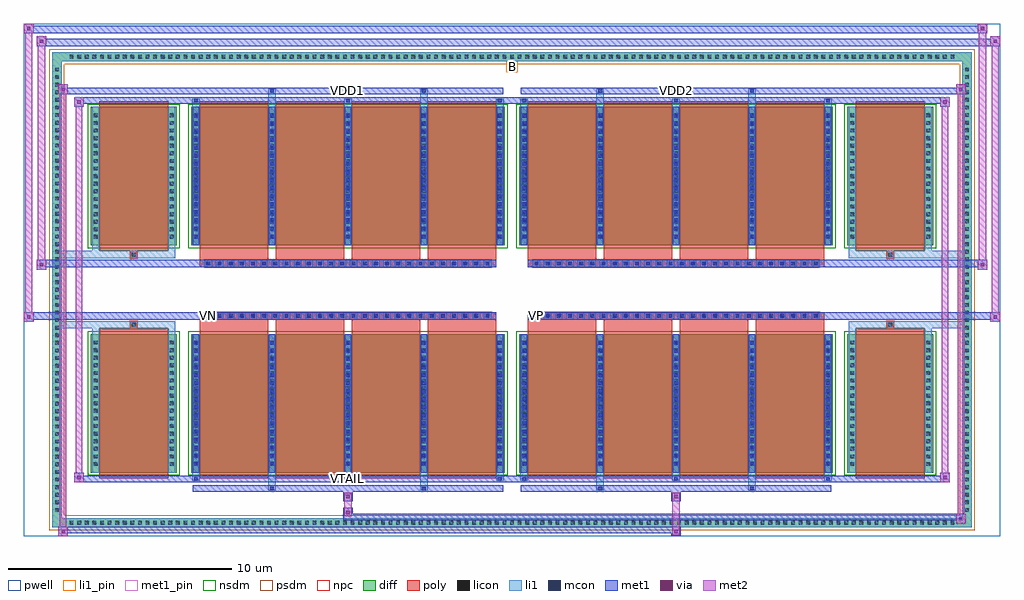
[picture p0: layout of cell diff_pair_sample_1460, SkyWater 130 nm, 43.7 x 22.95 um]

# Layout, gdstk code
import gdstk
lib = gdstk.Library(unit=1e-6, precision=5e-09)
def R(c, l, rs):  # rectangles x0, y0, x1, y1
    for r in rs: c.add(gdstk.rectangle(r[:2], r[2:], *l))
def A(c, l, x, y, w, h, nx, ny, dx, dy):  # array of equal rectangles
    R(c, l, [(x+i*dx, y+j*dy, x+i*dx+w, y+j*dy+h) for i in range(nx) for j in range(ny)])
def P(c, l, *ps):  # polygons
    for p in ps: c.add(gdstk.Polygon(p, *l))
pwell = (64, 44)
diff = (65, 20)
poly = (66, 20)
licon = (66, 44)
li1_pin = (67, 16)
li1 = (67, 20)
mcon = (67, 44)
met1_pin = (68, 16)
met1 = (68, 20)
via = (68, 44)
met2 = (69, 20)
nsdm = (93, 44)
psdm = (94, 20)
npc = (95, 20)

diff_pair_sample_1460 = lib.new_cell('diff_pair_sample_1460')
R(diff_pair_sample_1460, pwell, [(-21.85,-11.04,21.85,11.91), (-19.17,-9.23,-0.01,-0.805), (0.01,-9.23,19.17,-0.805), (-19.17,0.805,-0.01,9.23), (0.01,0.805,19.17,9.23)])
A(diff_pair_sample_1460, diff, -19.925, -10.64, 0.41, 0.41, 117, 2, 0.34, 20.87)
A(diff_pair_sample_1460, diff, -20.58, -10.065, 0.41, 0.41, 1, 59, 0, 0.34)
A(diff_pair_sample_1460, diff, 20.17, -10.065, 0.41, 0.41, 1, 59, 0, 0.34)
R(diff_pair_sample_1460, diff, [(-19.925,-10.64,19.925,-10.23), (-20.58,-10.065,-20.17,10.065), (20.17,-10.065,20.58,10.065), (-18.86,-8.185,-15.01,-1.985), (-14.37,-8.185,-0.32,-1.985), (0.32,-8.185,14.37,-1.985), (15.01,-8.185,18.86,-1.985), (-18.86,1.985,-15.01,8.185), (-14.37,1.985,-0.32,8.185), (0.32,1.985,14.37,8.185), (15.01,1.985,18.86,8.185), (-19.925,10.23,19.925,10.64)])
P(diff_pair_sample_1460, diff, [(20.58,10.64),(-20.58,10.64),(-20.58,-10.23),(-20.17,-10.23),(-20.17,10.23),(20.17,10.23),(20.17,-10.23),(-20.17,-10.23),(-20.58,-10.23),(-20.58,-10.64),(20.58,-10.64)])
A(diff_pair_sample_1460, poly, -13.98, -8.435, 3.07, 6.7, 4, 2, 3.4, 10.17)
A(diff_pair_sample_1460, poly, 0.71, -8.435, 3.07, 6.7, 4, 2, 3.4, 10.17)
A(diff_pair_sample_1460, poly, -13.98, -1.735, 3.07, 0.4, 4, 2, 3.4, 3.07)
A(diff_pair_sample_1460, poly, 0.71, -1.735, 3.07, 0.4, 4, 2, 3.4, 3.07)
A(diff_pair_sample_1460, poly, -13.76, -1.335, 0.33, 0.33, 26, 2, 0.5, 2.34)
A(diff_pair_sample_1460, poly, 0.93, -1.335, 0.33, 0.33, 26, 2, 0.5, 2.34)
R(diff_pair_sample_1460, poly, [(-18.47,-8.435,-15.4,-1.735), (15.4,-8.435,18.47,-1.735), (-17.1,-1.735,-16.77,-1.405), (-17.1,-1.735,-16.77,-1.405), (16.77,-1.735,17.1,-1.405), (16.77,-1.735,17.1,-1.405), (-13.98,-1.335,-0.71,-1.005), (0.71,-1.335,13.98,-1.005), (-13.98,1.005,-0.71,1.335), (0.71,1.005,13.98,1.335), (-17.1,1.405,-16.77,1.735), (-17.1,1.405,-16.77,1.735), (16.77,1.405,17.1,1.735), (16.77,1.405,17.1,1.735), (-18.47,1.735,-15.4,8.435), (15.4,1.735,18.47,8.435)])
A(diff_pair_sample_1460, licon, -19.805, -10.52, 0.17, 0.17, 117, 2, 0.34, 20.87)
A(diff_pair_sample_1460, licon, -20.46, -9.945, 0.17, 0.17, 1, 59, 0, 0.34)
A(diff_pair_sample_1460, licon, 20.29, -9.945, 0.17, 0.17, 1, 59, 0, 0.34)
A(diff_pair_sample_1460, licon, -18.72, -7.89, 0.17, 0.17, 1, 17, 0, 0.34)
A(diff_pair_sample_1460, licon, -15.32, -7.89, 0.17, 0.17, 1, 17, 0, 0.34)
A(diff_pair_sample_1460, licon, -14.23, -7.89, 0.17, 0.17, 5, 17, 3.4, 0.34)
A(diff_pair_sample_1460, licon, 0.46, -7.89, 0.17, 0.17, 5, 17, 3.4, 0.34)
A(diff_pair_sample_1460, licon, 15.15, -7.89, 0.17, 0.17, 1, 17, 0, 0.34)
A(diff_pair_sample_1460, licon, 18.55, -7.89, 0.17, 0.17, 1, 17, 0, 0.34)
A(diff_pair_sample_1460, licon, -13.68, -1.255, 0.17, 0.17, 26, 2, 0.5, 2.34)
A(diff_pair_sample_1460, licon, 1.01, -1.255, 0.17, 0.17, 26, 2, 0.5, 2.34)
A(diff_pair_sample_1460, licon, -18.72, 2.28, 0.17, 0.17, 1, 17, 0, 0.34)
A(diff_pair_sample_1460, licon, -15.32, 2.28, 0.17, 0.17, 1, 17, 0, 0.34)
A(diff_pair_sample_1460, licon, -14.23, 2.28, 0.17, 0.17, 5, 17, 3.4, 0.34)
A(diff_pair_sample_1460, licon, 0.46, 2.28, 0.17, 0.17, 5, 17, 3.4, 0.34)
A(diff_pair_sample_1460, licon, 15.15, 2.28, 0.17, 0.17, 1, 17, 0, 0.34)
A(diff_pair_sample_1460, licon, 18.55, 2.28, 0.17, 0.17, 1, 17, 0, 0.34)
R(diff_pair_sample_1460, licon, [(-17.02,-1.655,-16.85,-1.485), (16.85,-1.655,17.02,-1.485), (-17.02,1.485,-16.85,1.655), (16.85,1.485,17.02,1.655)])
R(diff_pair_sample_1460, li1_pin, [(-0.25,9.73,0.25,10.23)])
A(diff_pair_sample_1460, li1, -19.885, -10.6, 0.33, 0.33, 117, 2, 0.34, 20.87)
A(diff_pair_sample_1460, li1, -20.54, -10.025, 0.33, 0.33, 1, 59, 0, 0.34)
A(diff_pair_sample_1460, li1, 20.21, -10.025, 0.33, 0.33, 1, 59, 0, 0.34)
A(diff_pair_sample_1460, li1, -14.31, -8.56, 0.33, 0.375, 3, 2, 6.8, 16.745)
A(diff_pair_sample_1460, li1, -14.23, -8.56, 0.17, 0.17, 3, 2, 6.8, 16.95)
A(diff_pair_sample_1460, li1, 0.38, -8.56, 0.33, 0.375, 3, 2, 6.8, 16.745)
A(diff_pair_sample_1460, li1, 0.46, -8.56, 0.17, 0.17, 3, 2, 6.8, 16.95)
A(diff_pair_sample_1460, li1, -14.31, -8.185, 0.33, 6.2, 5, 2, 3.4, 10.17)
A(diff_pair_sample_1460, li1, 0.38, -8.185, 0.33, 6.2, 5, 2, 3.4, 10.17)
A(diff_pair_sample_1460, li1, -18.8, -7.97, 0.33, 0.33, 1, 17, 0, 0.34)
A(diff_pair_sample_1460, li1, -15.4, -7.97, 0.33, 0.33, 1, 17, 0, 0.34)
A(diff_pair_sample_1460, li1, -14.31, -7.97, 0.33, 0.33, 5, 17, 3.4, 0.34)
A(diff_pair_sample_1460, li1, 0.38, -7.97, 0.33, 0.33, 5, 17, 3.4, 0.34)
A(diff_pair_sample_1460, li1, 15.07, -7.97, 0.33, 0.33, 1, 17, 0, 0.34)
A(diff_pair_sample_1460, li1, 18.47, -7.97, 0.33, 0.33, 1, 17, 0, 0.34)
A(diff_pair_sample_1460, li1, -14.23, -7.87, 0.17, 0.17, 5, 16, 3.4, 0.36)
A(diff_pair_sample_1460, li1, -14.23, -7.87, 0.17, 5.57, 5, 2, 3.4, 10.17)
A(diff_pair_sample_1460, li1, 0.46, -7.87, 0.17, 0.17, 5, 16, 3.4, 0.36)
A(diff_pair_sample_1460, li1, 0.46, -7.87, 0.17, 5.57, 5, 2, 3.4, 10.17)
A(diff_pair_sample_1460, li1, -13.76, -1.335, 0.33, 0.33, 26, 2, 0.5, 2.34)
A(diff_pair_sample_1460, li1, 0.93, -1.335, 0.33, 0.33, 26, 2, 0.5, 2.34)
A(diff_pair_sample_1460, li1, -18.8, 2.2, 0.33, 0.33, 1, 17, 0, 0.34)
A(diff_pair_sample_1460, li1, -15.4, 2.2, 0.33, 0.33, 1, 17, 0, 0.34)
A(diff_pair_sample_1460, li1, -14.31, 2.2, 0.33, 0.33, 5, 17, 3.4, 0.34)
A(diff_pair_sample_1460, li1, 0.38, 2.2, 0.33, 0.33, 5, 17, 3.4, 0.34)
A(diff_pair_sample_1460, li1, 15.07, 2.2, 0.33, 0.33, 1, 17, 0, 0.34)
A(diff_pair_sample_1460, li1, 18.47, 2.2, 0.33, 0.33, 1, 17, 0, 0.34)
A(diff_pair_sample_1460, li1, -14.23, 2.3, 0.17, 0.17, 5, 16, 3.4, 0.36)
A(diff_pair_sample_1460, li1, 0.46, 2.3, 0.17, 0.17, 5, 16, 3.4, 0.36)
R(diff_pair_sample_1460, li1, [(-20.58,-10.64,-20.17,-10.23), (-20.58,-10.64,-20.17,-10.23), (-20.17,-10.64,20.17,-10.23), (20.17,-10.64,20.58,-10.23), (20.17,-10.64,20.58,-10.23), (-20.58,-10.23,-20.17,10.23), (20.17,-10.23,20.58,10.23), (-10.91,-8.99,-10.58,-8.185), (-10.83,-8.99,-10.66,-8.82), (-4.11,-8.99,-3.78,-8.185), (-4.03,-8.99,-3.86,-8.82), (3.78,-8.99,4.11,-8.185), (3.86,-8.99,4.03,-8.82), (10.58,-8.99,10.91,-8.185), (10.66,-8.99,10.83,-8.82), (-18.8,-8.185,-18.47,-1.985), (-15.4,-8.185,-15.07,-1.985), (15.07,-8.185,15.4,-1.985), (18.47,-8.185,18.8,-1.985), (-18.8,-1.985,-18.47,-1.405), (-15.4,-1.985,-15.07,-1.405), (15.07,-1.985,15.4,-1.405), (18.47,-1.985,18.8,-1.405), (-20.58,-1.735,-17.1,-1.405), (-18.8,-1.735,-17.1,-1.405), (-17.1,-1.735,-16.77,-1.405), (-16.77,-1.735,-15.07,-1.405), (15.07,-1.735,16.77,-1.405), (16.77,-1.735,17.1,-1.405), (16.77,-1.735,20.58,-1.405), (17.1,-1.735,18.8,-1.405), (-20.58,1.405,-17.1,1.735), (-18.8,1.405,-17.1,1.735), (-18.8,1.405,-18.47,1.985), (-17.1,1.405,-16.77,1.735), (-16.77,1.405,-15.07,1.735), (-15.4,1.405,-15.07,1.985), (15.07,1.405,16.77,1.735), (15.07,1.405,15.4,1.985), (16.77,1.405,17.1,1.735), (16.77,1.405,20.58,1.735), (17.1,1.405,18.8,1.735), (18.47,1.405,18.8,1.985), (-18.8,1.985,-18.47,8.185), (-15.4,1.985,-15.07,8.185), (15.07,1.985,15.4,8.185), (18.47,1.985,18.8,8.185), (-10.91,8.185,-10.58,8.99), (-4.11,8.185,-3.78,8.99), (3.78,8.185,4.11,8.99), (10.58,8.185,10.91,8.99), (-10.83,8.82,-10.66,8.99), (-4.03,8.82,-3.86,8.99), (3.86,8.82,4.03,8.99), (10.66,8.82,10.83,8.99), (-20.58,10.23,-20.17,10.64), (-20.58,10.23,-20.17,10.64), (-20.17,10.23,20.17,10.64), (20.17,10.23,20.58,10.64), (20.17,10.23,20.58,10.64)])
A(diff_pair_sample_1460, mcon, -14.23, -8.56, 0.17, 0.17, 3, 2, 6.8, 16.95)
A(diff_pair_sample_1460, mcon, 0.46, -8.56, 0.17, 0.17, 3, 2, 6.8, 16.95)
A(diff_pair_sample_1460, mcon, -14.23, -7.87, 0.17, 0.17, 5, 16, 3.4, 0.36)
A(diff_pair_sample_1460, mcon, 0.46, -7.87, 0.17, 0.17, 5, 16, 3.4, 0.36)
A(diff_pair_sample_1460, mcon, -13.68, -1.255, 0.17, 0.17, 26, 2, 0.5, 2.34)
A(diff_pair_sample_1460, mcon, 1.01, -1.255, 0.17, 0.17, 26, 2, 0.5, 2.34)
A(diff_pair_sample_1460, mcon, -14.23, 2.3, 0.17, 0.17, 5, 16, 3.4, 0.36)
A(diff_pair_sample_1460, mcon, 0.46, 2.3, 0.17, 0.17, 5, 16, 3.4, 0.36)
R(diff_pair_sample_1460, mcon, [(-10.83,-8.99,-10.66,-8.82), (-4.03,-8.99,-3.86,-8.82), (3.86,-8.99,4.03,-8.82), (10.66,-8.99,10.83,-8.82), (-10.83,8.82,-10.66,8.99), (-4.03,8.82,-3.86,8.99), (3.86,8.82,4.03,8.99), (10.66,8.82,10.83,8.99)])
R(diff_pair_sample_1460, met1_pin, [(-7.48,-8.6,-7.21,-8.33), (-13.73,-1.295,-13.46,-1.025), (0.96,-1.295,1.23,-1.025), (-7.48,8.78,-7.21,9.05), (7.21,8.78,7.48,9.05)])
A(diff_pair_sample_1460, met1, -14.29, -8.62, 0.29, 0.29, 3, 2, 6.8, 16.95)
A(diff_pair_sample_1460, met1, 0.4, -8.62, 0.29, 0.29, 3, 2, 6.8, 16.95)
A(diff_pair_sample_1460, met1, -14.29, -8.185, 0.29, 6.2, 5, 2, 3.4, 10.17)
A(diff_pair_sample_1460, met1, 0.4, -8.185, 0.29, 6.2, 5, 2, 3.4, 10.17)
A(diff_pair_sample_1460, met1, -14.29, -7.93, 0.29, 0.29, 5, 16, 3.4, 0.36)
A(diff_pair_sample_1460, met1, 0.4, -7.93, 0.29, 0.29, 5, 16, 3.4, 0.36)
A(diff_pair_sample_1460, met1, -13.74, -1.315, 0.29, 0.29, 26, 2, 0.5, 2.34)
A(diff_pair_sample_1460, met1, 0.95, -1.315, 0.29, 0.29, 26, 2, 0.5, 2.34)
A(diff_pair_sample_1460, met1, -14.29, 2.24, 0.29, 0.29, 5, 16, 3.4, 0.36)
A(diff_pair_sample_1460, met1, 0.4, 2.24, 0.29, 0.29, 5, 16, 3.4, 0.36)
R(diff_pair_sample_1460, met1, [(-20.31,-11.04,-19.88,-10.61), (7.13,-11.04,7.56,-10.61), (-20.31,-10.9,7.56,-10.61), (19.88,-10.47,20.31,-10.04), (-7.56,-10.33,20.31,-10.04), (-7.56,-10.19,-7.13,-9.76), (-7.56,-9.48,-7.13,-9.05), (7.13,-9.48,7.56,-9.05), (-14.29,-9.05,-0.4,-8.76), (-10.89,-9.05,-10.6,-8.76), (-4.09,-9.05,-3.8,-8.76), (0.4,-9.05,14.29,-8.76), (3.8,-9.05,4.09,-8.76), (10.6,-9.05,10.89,-8.76), (-19.6,-8.62,-19.17,-8.19), (-19.6,-8.62,-14.29,-8.33), (-14.29,-8.62,-0.4,-8.33), (-0.4,-8.62,0.4,-8.33), (0.4,-8.62,14.29,-8.33), (14.29,-8.62,19.6,-8.33), (19.17,-8.62,19.6,-8.19), (-21.85,-1.435,-21.42,-1.005), (21.42,-1.435,21.85,-1.005), (-21.85,-1.335,-0.71,-1.005), (-13.98,-1.335,-0.71,-1.005), (0.71,-1.335,13.98,-1.005), (0.71,-1.335,21.85,-1.005), (-21.28,0.905,-20.85,1.335), (20.85,0.905,21.28,1.335), (-21.28,1.005,-13.98,1.335), (-13.98,1.005,-0.71,1.335), (0.71,1.005,13.98,1.335), (13.98,1.005,21.28,1.335), (-19.6,8.19,-19.17,8.62), (19.17,8.19,19.6,8.62), (-19.6,8.33,-14.29,8.62), (-14.29,8.33,-0.4,8.62), (-0.4,8.33,0.4,8.62), (0.4,8.33,14.29,8.62), (14.29,8.33,19.6,8.62), (-20.31,8.76,-19.88,9.19), (-20.31,8.76,-14.29,9.05), (-14.29,8.76,-0.4,9.05), (-10.89,8.76,-10.6,9.05), (-4.09,8.76,-3.8,9.05), (0.4,8.76,14.29,9.05), (3.8,8.76,4.09,9.05), (10.6,8.76,10.89,9.05), (14.29,8.76,20.31,9.05), (19.88,8.76,20.31,9.19), (-21.28,10.91,-20.85,11.34), (-21.28,10.91,-19.17,11.24), (-19.17,10.91,19.17,11.24), (19.17,10.91,21.85,11.24), (21.42,10.91,21.85,11.34), (-21.85,11.48,-21.42,11.91), (-21.85,11.48,-19.17,11.81), (-19.17,11.48,19.17,11.81), (19.17,11.48,21.28,11.81), (20.85,11.48,21.28,11.91)])
R(diff_pair_sample_1460, via, [(-20.17,-10.9,-20.02,-10.75), (7.27,-10.9,7.42,-10.75), (20.02,-10.33,20.17,-10.18), (-7.42,-10.05,-7.27,-9.9), (-7.42,-9.34,-7.27,-9.19), (7.27,-9.34,7.42,-9.19), (-19.46,-8.48,-19.31,-8.33), (19.31,-8.48,19.46,-8.33), (-21.71,-1.295,-21.56,-1.145), (21.56,-1.295,21.71,-1.145), (-21.14,1.045,-20.99,1.195), (20.99,1.045,21.14,1.195), (-19.46,8.33,-19.31,8.48), (19.31,8.33,19.46,8.48), (-20.17,8.9,-20.02,9.05), (20.02,8.9,20.17,9.05), (-21.14,11.05,-20.99,11.2), (21.56,11.05,21.71,11.2), (-21.71,11.62,-21.56,11.77), (20.99,11.62,21.14,11.77)])
R(diff_pair_sample_1460, met2, [(-20.31,-11.04,-19.88,-10.61), (-20.24,-11.04,-19.95,9.19), (-19.95,-11.04,-19.88,-10.61), (-20.26,-10.99,-19.93,-10.66), (7.18,-10.99,7.51,-10.66), (7.18,-10.66,7.51,-9.43), (19.88,-10.47,20.31,-10.04), (19.95,-10.47,20.24,9.19), (20.24,-10.47,20.31,-10.04), (19.93,-10.42,20.26,-10.09), (-7.51,-10.14,-7.18,-9.81), (-7.51,-9.81,-7.18,-9.43), (-7.51,-9.43,-7.18,-9.1), (7.18,-9.43,7.51,-9.1), (-19.6,-8.62,-19.17,-8.19), (-19.53,-8.62,-19.24,8.62), (-19.24,-8.62,-19.17,-8.19), (19.17,-8.62,19.6,-8.19), (19.24,-8.62,19.53,8.62), (19.53,-8.62,19.6,-8.19), (-19.55,-8.57,-19.22,-8.24), (19.22,-8.57,19.55,-8.24), (-21.85,-1.435,-21.42,-1.005), (-21.8,-1.435,-21.47,11.91), (-21.47,-1.435,-21.42,-1.005), (21.42,-1.435,21.85,-1.005), (21.47,-1.435,21.8,11.34), (21.8,-1.435,21.85,-1.005), (-21.8,-1.385,-21.47,-1.055), (21.47,-1.385,21.8,-1.055), (-21.28,0.905,-20.85,1.335), (-21.23,0.905,-20.9,11.34), (-20.9,0.905,-20.85,1.335), (20.85,0.905,21.28,1.335), (20.9,0.905,21.23,11.91), (21.23,0.905,21.28,1.335), (-21.23,0.955,-20.9,1.285), (20.9,0.955,21.23,1.285), (-19.6,8.19,-19.17,8.62), (-19.24,8.19,-19.17,8.62), (19.17,8.19,19.6,8.62), (19.53,8.19,19.6,8.62), (-19.55,8.24,-19.22,8.57), (19.22,8.24,19.55,8.57), (-20.31,8.76,-19.88,9.19), (-19.95,8.76,-19.88,9.19), (19.88,8.76,20.31,9.19), (20.24,8.76,20.31,9.19), (-20.26,8.81,-19.93,9.14), (19.93,8.81,20.26,9.14), (-21.28,10.91,-20.85,11.34), (-20.9,10.91,-20.85,11.34), (21.42,10.91,21.85,11.34), (21.8,10.91,21.85,11.34), (-21.23,10.96,-20.9,11.29), (21.47,10.96,21.8,11.29), (-21.85,11.48,-21.42,11.91), (-21.47,11.48,-21.42,11.91), (20.85,11.48,21.28,11.91), (21.23,11.48,21.28,11.91), (-21.8,11.53,-21.47,11.86), (20.9,11.53,21.23,11.86)])
R(diff_pair_sample_1460, nsdm, [(-18.99,-8.315,-14.88,-1.855), (-14.5,-8.315,-0.19,-1.855), (0.19,-8.315,14.5,-1.855), (14.88,-8.315,18.99,-1.855), (-18.99,1.855,-14.88,8.315), (-14.5,1.855,-0.19,8.315), (0.19,1.855,14.5,8.315), (14.88,1.855,18.99,8.315)])
P(diff_pair_sample_1460, psdm, [(20.71,10.77),(-20.71,10.77),(-20.71,-10.1),(-20.04,-10.1),(-20.04,10.1),(20.04,10.1),(20.04,-10.1),(-20.04,-10.1),(-20.71,-10.1),(-20.71,-10.77),(20.71,-10.77)])
A(diff_pair_sample_1460, npc, -13.78, -1.355, 0.37, 0.37, 26, 2, 0.5, 2.34)
A(diff_pair_sample_1460, npc, 0.91, -1.355, 0.37, 0.37, 26, 2, 0.5, 2.34)
R(diff_pair_sample_1460, npc, [(-17.12,-1.755,-16.75,-1.385), (16.75,-1.755,17.12,-1.385), (-13.78,-1.355,-12.91,-0.985), (-13.78,-1.355,-12.91,-0.985), (-13.28,-1.355,-12.41,-0.985), (-13.28,-1.355,-12.41,-0.985), (-12.78,-1.355,-11.91,-0.985), (-12.78,-1.355,-11.91,-0.985), (-12.28,-1.355,-11.41,-0.985), (-12.28,-1.355,-11.41,-0.985), (-11.78,-1.355,-10.91,-0.985), (-11.78,-1.355,-10.91,-0.985), (-11.28,-1.355,-10.41,-0.985), (-11.28,-1.355,-10.41,-0.985), (-10.78,-1.355,-9.91,-0.985), (-10.78,-1.355,-9.91,-0.985), (-10.28,-1.355,-9.41,-0.985), (-10.28,-1.355,-9.41,-0.985), (-9.78,-1.355,-8.91,-0.985), (-9.78,-1.355,-8.91,-0.985), (-9.28,-1.355,-8.41,-0.985), (-9.28,-1.355,-8.41,-0.985), (-8.78,-1.355,-7.91,-0.985), (-8.78,-1.355,-7.91,-0.985), (-8.28,-1.355,-7.41,-0.985), (-8.28,-1.355,-7.41,-0.985), (-7.78,-1.355,-6.91,-0.985), (-7.78,-1.355,-6.91,-0.985), (-7.28,-1.355,-6.41,-0.985), (-7.28,-1.355,-6.41,-0.985), (-6.78,-1.355,-5.91,-0.985), (-6.78,-1.355,-5.91,-0.985), (-6.28,-1.355,-5.41,-0.985), (-6.28,-1.355,-5.41,-0.985), (-5.78,-1.355,-4.91,-0.985), (-5.78,-1.355,-4.91,-0.985), (-5.28,-1.355,-4.41,-0.985), (-5.28,-1.355,-4.41,-0.985), (-4.78,-1.355,-3.91,-0.985), (-4.78,-1.355,-3.91,-0.985), (-4.28,-1.355,-3.41,-0.985), (-4.28,-1.355,-3.41,-0.985), (-3.78,-1.355,-2.91,-0.985), (-3.78,-1.355,-2.91,-0.985), (-3.28,-1.355,-2.41,-0.985), (-3.28,-1.355,-2.41,-0.985), (-2.78,-1.355,-1.91,-0.985), (-2.78,-1.355,-1.91,-0.985), (-2.28,-1.355,-1.41,-0.985), (-2.28,-1.355,-1.41,-0.985), (-1.78,-1.355,-0.91,-0.985), (-1.78,-1.355,-0.91,-0.985), (0.91,-1.355,1.78,-0.985), (0.91,-1.355,1.78,-0.985), (1.41,-1.355,2.28,-0.985), (1.41,-1.355,2.28,-0.985), (1.91,-1.355,2.78,-0.985), (1.91,-1.355,2.78,-0.985), (2.41,-1.355,3.28,-0.985), (2.41,-1.355,3.28,-0.985), (2.91,-1.355,3.78,-0.985), (2.91,-1.355,3.78,-0.985), (3.41,-1.355,4.28,-0.985), (3.41,-1.355,4.28,-0.985), (3.91,-1.355,4.78,-0.985), (3.91,-1.355,4.78,-0.985), (4.41,-1.355,5.28,-0.985), (4.41,-1.355,5.28,-0.985), (4.91,-1.355,5.78,-0.985), (4.91,-1.355,5.78,-0.985), (5.41,-1.355,6.28,-0.985), (5.41,-1.355,6.28,-0.985), (5.91,-1.355,6.78,-0.985), (5.91,-1.355,6.78,-0.985), (6.41,-1.355,7.28,-0.985), (6.41,-1.355,7.28,-0.985), (6.91,-1.355,7.78,-0.985), (6.91,-1.355,7.78,-0.985), (7.41,-1.355,8.28,-0.985), (7.41,-1.355,8.28,-0.985), (7.91,-1.355,8.78,-0.985), (7.91,-1.355,8.78,-0.985), (8.41,-1.355,9.28,-0.985), (8.41,-1.355,9.28,-0.985), (8.91,-1.355,9.78,-0.985), (8.91,-1.355,9.78,-0.985), (9.41,-1.355,10.28,-0.985), (9.41,-1.355,10.28,-0.985), (9.91,-1.355,10.78,-0.985), (9.91,-1.355,10.78,-0.985), (10.41,-1.355,11.28,-0.985), (10.41,-1.355,11.28,-0.985), (10.91,-1.355,11.78,-0.985), (10.91,-1.355,11.78,-0.985), (11.41,-1.355,12.28,-0.985), (11.41,-1.355,12.28,-0.985), (11.91,-1.355,12.78,-0.985), (11.91,-1.355,12.78,-0.985), (12.41,-1.355,13.28,-0.985), (12.41,-1.355,13.28,-0.985), (12.91,-1.355,13.78,-0.985), (12.91,-1.355,13.78,-0.985), (-13.78,0.985,-12.91,1.355), (-13.78,0.985,-12.91,1.355), (-13.28,0.985,-12.41,1.355), (-13.28,0.985,-12.41,1.355), (-12.78,0.985,-11.91,1.355), (-12.78,0.985,-11.91,1.355), (-12.28,0.985,-11.41,1.355), (-12.28,0.985,-11.41,1.355), (-11.78,0.985,-10.91,1.355), (-11.78,0.985,-10.91,1.355), (-11.28,0.985,-10.41,1.355), (-11.28,0.985,-10.41,1.355), (-10.78,0.985,-9.91,1.355), (-10.78,0.985,-9.91,1.355), (-10.28,0.985,-9.41,1.355), (-10.28,0.985,-9.41,1.355), (-9.78,0.985,-8.91,1.355), (-9.78,0.985,-8.91,1.355), (-9.28,0.985,-8.41,1.355), (-9.28,0.985,-8.41,1.355), (-8.78,0.985,-7.91,1.355), (-8.78,0.985,-7.91,1.355), (-8.28,0.985,-7.41,1.355), (-8.28,0.985,-7.41,1.355), (-7.78,0.985,-6.91,1.355), (-7.78,0.985,-6.91,1.355), (-7.28,0.985,-6.41,1.355), (-7.28,0.985,-6.41,1.355), (-6.78,0.985,-5.91,1.355), (-6.78,0.985,-5.91,1.355), (-6.28,0.985,-5.41,1.355), (-6.28,0.985,-5.41,1.355), (-5.78,0.985,-4.91,1.355), (-5.78,0.985,-4.91,1.355), (-5.28,0.985,-4.41,1.355), (-5.28,0.985,-4.41,1.355), (-4.78,0.985,-3.91,1.355), (-4.78,0.985,-3.91,1.355), (-4.28,0.985,-3.41,1.355), (-4.28,0.985,-3.41,1.355), (-3.78,0.985,-2.91,1.355), (-3.78,0.985,-2.91,1.355), (-3.28,0.985,-2.41,1.355), (-3.28,0.985,-2.41,1.355), (-2.78,0.985,-1.91,1.355), (-2.78,0.985,-1.91,1.355), (-2.28,0.985,-1.41,1.355), (-2.28,0.985,-1.41,1.355), (-1.78,0.985,-0.91,1.355), (-1.78,0.985,-0.91,1.355), (0.91,0.985,1.78,1.355), (0.91,0.985,1.78,1.355), (1.41,0.985,2.28,1.355), (1.41,0.985,2.28,1.355), (1.91,0.985,2.78,1.355), (1.91,0.985,2.78,1.355), (2.41,0.985,3.28,1.355), (2.41,0.985,3.28,1.355), (2.91,0.985,3.78,1.355), (2.91,0.985,3.78,1.355), (3.41,0.985,4.28,1.355), (3.41,0.985,4.28,1.355), (3.91,0.985,4.78,1.355), (3.91,0.985,4.78,1.355), (4.41,0.985,5.28,1.355), (4.41,0.985,5.28,1.355), (4.91,0.985,5.78,1.355), (4.91,0.985,5.78,1.355), (5.41,0.985,6.28,1.355), (5.41,0.985,6.28,1.355), (5.91,0.985,6.78,1.355), (5.91,0.985,6.78,1.355), (6.41,0.985,7.28,1.355), (6.41,0.985,7.28,1.355), (6.91,0.985,7.78,1.355), (6.91,0.985,7.78,1.355), (7.41,0.985,8.28,1.355), (7.41,0.985,8.28,1.355), (7.91,0.985,8.78,1.355), (7.91,0.985,8.78,1.355), (8.41,0.985,9.28,1.355), (8.41,0.985,9.28,1.355), (8.91,0.985,9.78,1.355), (8.91,0.985,9.78,1.355), (9.41,0.985,10.28,1.355), (9.41,0.985,10.28,1.355), (9.91,0.985,10.78,1.355), (9.91,0.985,10.78,1.355), (10.41,0.985,11.28,1.355), (10.41,0.985,11.28,1.355), (10.91,0.985,11.78,1.355), (10.91,0.985,11.78,1.355), (11.41,0.985,12.28,1.355), (11.41,0.985,12.28,1.355), (11.91,0.985,12.78,1.355), (11.91,0.985,12.78,1.355), (12.41,0.985,13.28,1.355), (12.41,0.985,13.28,1.355), (12.91,0.985,13.78,1.355), (12.91,0.985,13.78,1.355), (-17.12,1.385,-16.75,1.755), (16.75,1.385,17.12,1.755)])
diff_pair_sample_1460.add(gdstk.Label('VTAIL', (-7.345,-8.465), layer=68, texttype=5))
diff_pair_sample_1460.add(gdstk.Label('VN', (-13.595,-1.16), layer=68, texttype=5))
diff_pair_sample_1460.add(gdstk.Label('VP', (1.095,-1.16), layer=68, texttype=5))
diff_pair_sample_1460.add(gdstk.Label('B', (0,9.98), layer=67, texttype=5))
diff_pair_sample_1460.add(gdstk.Label('VDD2', (7.345,8.915), layer=68, texttype=5))
diff_pair_sample_1460.add(gdstk.Label('VDD1', (-7.345,8.915), layer=68, texttype=5))

lib.write_gds('diff_pair_sample_1460.gds')
